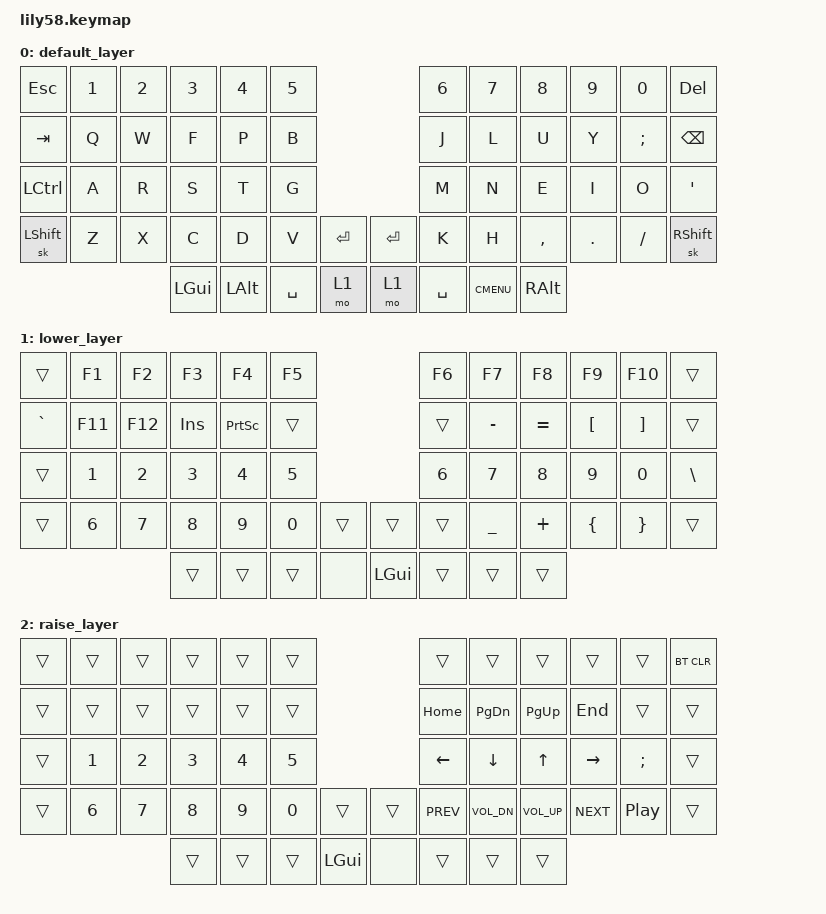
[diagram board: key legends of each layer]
/*
 * Copyright (c) 2020 The ZMK Contributors
 *
 * SPDX-License-Identifier: MIT
 */

#include <behaviors.dtsi>
#include <dt-bindings/zmk/keys.h>
#include <dt-bindings/zmk/bt.h>
#include <dt-bindings/zmk/outputs.h>
// #include <dt-bindings/zmk/ext_power.h>

/*
 * To practice explicit layer - &none between layers instead of &transfer
 * Except modifier keys like alt, ctrl, shift for app hotkeys
 * 
 * Future would be cool to have following
 * 1. Automatic plover activation based on grouping
 * 2. Automatic plover disable (maybe manual exit/pause would be better)
 */

&sk {
    release-after-ms = <100>;
    quick-release;
    ignore-modifiers;
};

/ {
    behaviors {
        qlt: quick-layer-tap {
            compatible = "zmk,behavior-hold-tap";
            label = "QUICK_LAYER_TAP";
            #binding-cells = <2>;
            flavor = "tap-preferred";
            tapping-term-ms = <100>;
            quick-tap-ms = <0>;
            bindings = <&mo>, <&kp>;
        };
    };

	keymap {
		compatible = "zmk,keymap";

		default_layer {
			bindings = <
&kp ESC    &kp N1  &kp N2 &kp N3    &kp N4    &kp N5                       &kp N6     &kp N7       &kp N8       &kp N9   &kp N0     &kp DEL
&kp TAB    &kp Q   &kp W  &kp F     &kp P     &kp B                        &kp J      &kp L        &kp U        &kp Y    &kp SEMI   &kp BSPC
&kp LCTRL  &kp A   &kp R  &kp S     &kp T     &kp G                        &kp M      &kp N        &kp E        &kp I    &kp O      &kp SQT
&sk LSHFT  &kp Z   &kp X  &kp C     &kp D     &kp V      &kp RET  &kp RET  &kp K      &kp H        &kp COMMA    &kp DOT  &kp FSLH   &sk RSHFT
                          &kp LGUI  &kp LALT  &kp SPACE  &mo 1    &mo 1    &kp SPACE  &kp K_CMENU  &kp RALT
			>;
		};

		lower_layer {
  		   bindings = <
&trans     &kp F1   &kp F2   &kp F3   &kp F4     &kp F5                     &kp F6  &kp F7     &kp F8     &kp F9    &kp F10   &trans
&kp GRAVE  &kp F11  &kp F12  &kp INS  &kp PSCRN  &trans                     &trans  &kp MINUS  &kp EQUAL  &kp LBKT  &kp RBKT  &trans
&trans     &kp N1   &kp N2   &kp N3   &kp N4     &kp N5                     &kp N6  &kp N7     &kp N8     &kp N9    &kp N0    &kp BSLH
&trans     &kp N6   &kp N7   &kp N8   &kp N9     &kp N0  &trans   &trans    &trans  &kp UNDER  &kp PLUS   &kp LBRC  &kp RBRC  &trans
                             &trans   &trans     &trans  &none    &kp LGUI  &trans  &trans     &trans
			>;
		};
      
		raise_layer {
			bindings = <
&trans  &trans        &trans        &trans        &trans        &trans                    &trans      &trans         &trans        &trans      &trans     &bt BT_CLR
&trans  &trans        &trans        &trans        &trans        &trans                    &kp HOME    &kp PG_DN      &kp PG_UP     &kp END     &trans     &trans
&trans  &kp N1        &kp N2        &kp N3        &kp N4        &kp N5                    &kp LEFT    &kp DOWN       &kp UP        &kp RIGHT   &kp SEMI   &trans
&trans  &kp N6        &kp N7        &kp N8        &kp N9        &kp N0  &trans    &trans  &kp C_PREV  &kp C_VOL_DN   &kp C_VOL_UP  &kp C_NEXT  &kp C_PP   &trans
                                    &trans        &trans        &trans  &kp LGUI  &none   &trans      &trans         &trans
      >;
		};
	};
};
